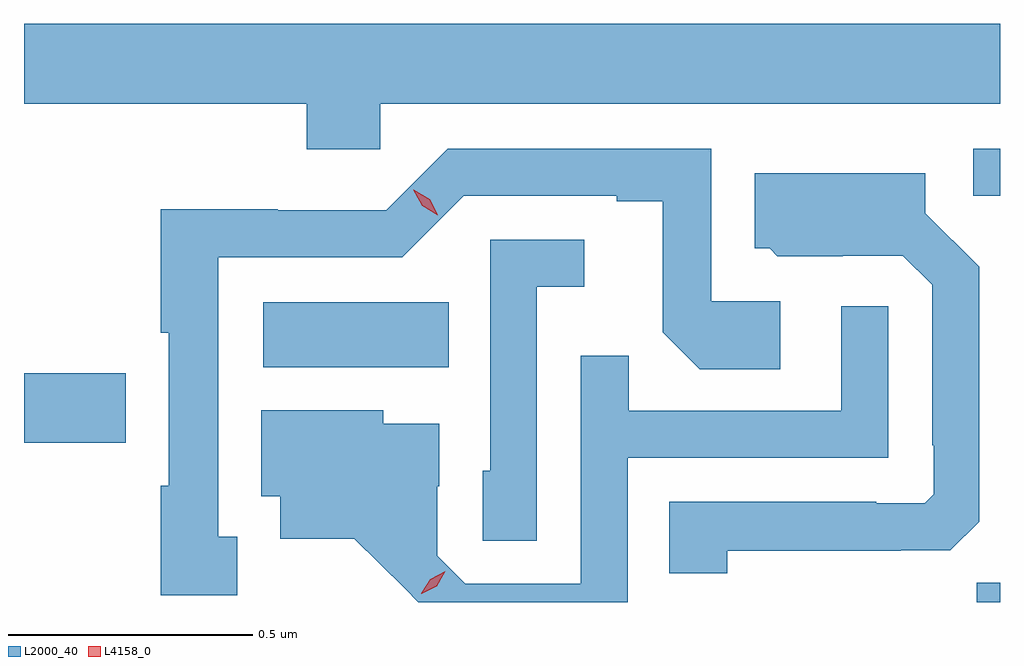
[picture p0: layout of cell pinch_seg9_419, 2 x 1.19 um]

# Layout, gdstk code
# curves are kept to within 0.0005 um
import gdstk
lib = gdstk.Library(unit=1e-6, precision=1e-09)
def R(c, l, rs):  # rectangles x0, y0, x1, y1
    for r in rs: c.add(gdstk.rectangle(r[:2], r[2:], *l))
def P(c, l, *ps):  # polygons
    for p in ps: c.add(gdstk.Polygon(p, *l))
L2000_40 = (2000, 40)
L4158_0 = (4158, 0)

pinch_seg9_419 = lib.new_cell('pinch_seg9_419')
R(pinch_seg9_419, L2000_40, [(331.756,1234.027,331.804,1234.067), (329.804,1234.354,330.013,1234.496), (330.294,1234.508,330.674,1234.642), (331.749,1234.86,331.804,1234.956)])
P(pinch_seg9_419, L2000_40, [(330.534,1235.048),(331.804,1235.048),(331.804,1235.212),(329.804,1235.212),(329.804,1235.048),(330.383,1235.048),(330.383,1234.955),(330.534,1234.955)],
  [(330.241,1234.161),(330.202,1234.161),(330.202,1234.734),(330.579,1234.734),(330.705,1234.86),(331.019,1234.86),(331.019,1234.848),(331.113,1234.848),(331.113,1234.58),(331.189,1234.504),(331.354,1234.504),(331.354,1234.644),(331.212,1234.644),(331.212,1234.956),(330.672,1234.956),(330.546,1234.83),(330.324,1234.83),(330.324,1234.832),(330.084,1234.832),(330.084,1234.579),(330.101,1234.579),(330.101,1234.265),(330.084,1234.265),(330.084,1234.041),(330.241,1234.041)],
  [(331.245,1234.132),(331.601,1234.132),(331.601,1234.133),(331.702,1234.133),(331.761,1234.192),(331.761,1234.714),(331.651,1234.824),(331.651,1234.906),(331.301,1234.906),(331.301,1234.752),(331.332,1234.752),(331.348,1234.736),(331.482,1234.736),(331.482,1234.737),(331.605,1234.737),(331.665,1234.677),(331.665,1234.348),(331.668,1234.348),(331.668,1234.248),(331.65,1234.23),(331.55,1234.23),(331.55,1234.233),(331.126,1234.233),(331.126,1234.086),(331.245,1234.086)],
  [(330.855,1234.673),(330.952,1234.673),(330.952,1234.77),(330.759,1234.77),(330.759,1234.296),(330.744,1234.296),(330.744,1234.153),(330.855,1234.153)],
  [(331.041,1234.323),(331.575,1234.323),(331.575,1234.633),(331.479,1234.633),(331.479,1234.419),(331.043,1234.419),(331.043,1234.532),(330.945,1234.532),(330.945,1234.065),(330.708,1234.065),(330.651,1234.122),(330.651,1234.264),(330.655,1234.264),(330.655,1234.393),(330.54,1234.393),(330.54,1234.42),(330.29,1234.42),(330.29,1234.244),(330.329,1234.244),(330.329,1234.157),(330.481,1234.157),(330.612,1234.027),(331.041,1234.027)])
P(pinch_seg9_419, L4158_0, [(330.618,1234.044),(330.618,1234.045),(330.636,1234.074),(330.667,1234.09),(330.667,1234.09),(330.667,1234.09),(330.65,1234.06),(330.619,1234.044)],
  [(330.652,1234.82),(330.62,1234.839),(330.602,1234.872),(330.602,1234.872),(330.603,1234.872),(330.635,1234.853),(330.652,1234.821),(330.652,1234.82)])

lib.write_gds('pinch_seg9_419.gds')
